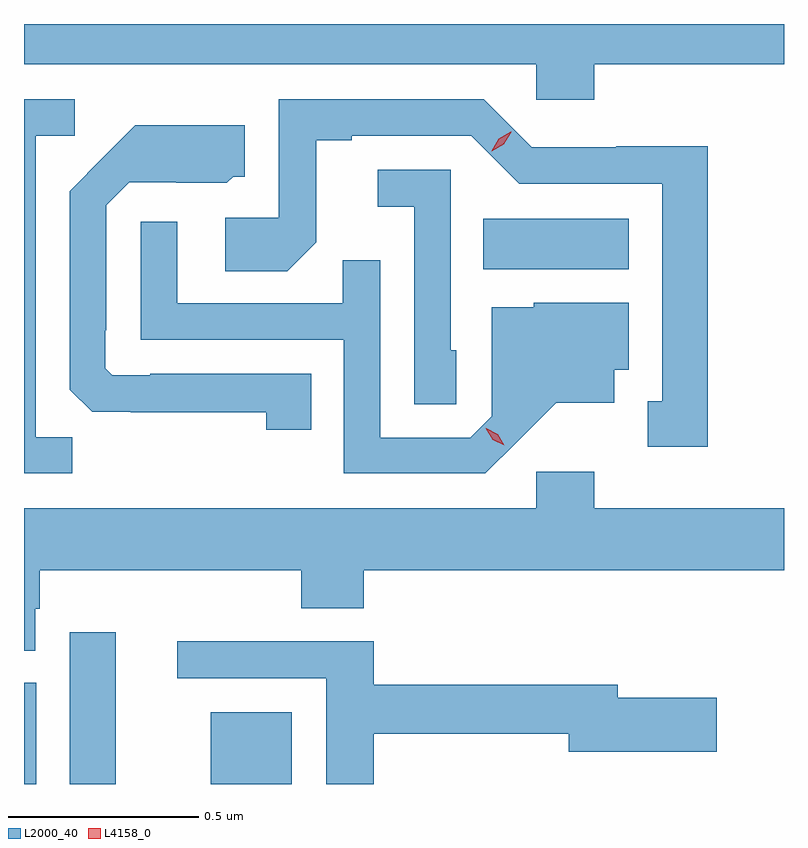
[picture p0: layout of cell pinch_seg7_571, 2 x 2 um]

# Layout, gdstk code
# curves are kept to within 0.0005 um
import gdstk
lib = gdstk.Library(unit=1e-6, precision=1e-09)
def R(c, l, rs):  # rectangles x0, y0, x1, y1
    for r in rs: c.add(gdstk.rectangle(r[:2], r[2:], *l))
def P(c, l, *ps):  # polygons
    for p in ps: c.add(gdstk.Polygon(p, *l))
L2000_40 = (2000, 40)
L4158_0 = (4158, 0)

pinch_seg7_571 = lib.new_cell('pinch_seg7_571')
R(pinch_seg7_571, L2000_40, [(171.014,1044.01,171.046,1044.276), (171.134,1044.01,171.256,1044.409), (171.506,1044.01,171.718,1044.199), (172.222,1045.364,172.606,1045.498)])
P(pinch_seg7_571, L2000_40, [(172.514,1045.904),(173.014,1045.904),(173.014,1046.01),(171.014,1046.01),(171.014,1045.904),(172.362,1045.904),(172.362,1045.811),(172.514,1045.811)],
  [(171.141,1044.923),(171.045,1044.923),(171.045,1045.716),(171.148,1045.716),(171.148,1045.812),(171.014,1045.812),(171.014,1044.828),(171.141,1044.828)],
  [(172.813,1045.688),(172.572,1045.688),(172.572,1045.686),(172.35,1045.686),(172.224,1045.812),(171.684,1045.812),(171.684,1045.5),(171.543,1045.5),(171.543,1045.36),(171.707,1045.36),(171.783,1045.436),(171.783,1045.704),(171.877,1045.704),(171.877,1045.716),(172.191,1045.716),(172.317,1045.59),(172.694,1045.59),(172.694,1045.017),(172.655,1045.017),(172.655,1044.897),(172.813,1044.897)],
  [(171.77,1045.089),(171.346,1045.089),(171.346,1045.086),(171.246,1045.086),(171.228,1045.104),(171.228,1045.204),(171.231,1045.204),(171.231,1045.533),(171.291,1045.593),(171.414,1045.593),(171.414,1045.592),(171.548,1045.592),(171.564,1045.608),(171.595,1045.608),(171.595,1045.744),(171.307,1045.744),(171.135,1045.57),(171.135,1045.048),(171.194,1044.989),(171.295,1044.989),(171.295,1044.988),(171.652,1044.988),(171.652,1044.942),(171.77,1044.942)],
  [(172.152,1045.152),(172.137,1045.152),(172.137,1045.626),(171.945,1045.626),(171.945,1045.529),(172.041,1045.529),(172.041,1045.009),(172.152,1045.009)],
  [(172.312,1044.911),(172.415,1045.013),(172.567,1045.013),(172.567,1045.1),(172.606,1045.1),(172.606,1045.276),(172.356,1045.276),(172.356,1045.264),(172.245,1045.264),(172.245,1044.978),(172.188,1044.921),(171.951,1044.921),(171.951,1045.388),(171.853,1045.388),(171.853,1045.275),(171.417,1045.275),(171.417,1045.489),(171.321,1045.489),(171.321,1045.179),(171.855,1045.179),(171.855,1044.828),(172.228,1044.828)],
  [(171.043,1044.471),(171.056,1044.471),(171.056,1044.572),(171.743,1044.572),(171.743,1044.473),(171.908,1044.473),(171.908,1044.572),(173.014,1044.572),(173.014,1044.736),(172.514,1044.736),(172.514,1044.832),(172.362,1044.832),(172.362,1044.736),(171.014,1044.736),(171.014,1044.361),(171.043,1044.361)],
  [(171.935,1044.142),(172.448,1044.142),(172.448,1044.095),(172.837,1044.095),(172.837,1044.237),(172.576,1044.237),(172.576,1044.271),(171.935,1044.271),(171.935,1044.386),(171.417,1044.386),(171.417,1044.288),(171.809,1044.288),(171.809,1044.01),(171.935,1044.01)])
P(pinch_seg7_571, L4158_0, [(172.278,1044.901),(172.247,1044.916),(172.229,1044.946),(172.229,1044.946),(172.23,1044.946),(172.261,1044.931),(172.278,1044.902),(172.278,1044.901)],
  [(172.245,1045.675),(172.245,1045.676),(172.263,1045.708),(172.295,1045.726),(172.296,1045.726),(172.296,1045.725),(172.277,1045.693),(172.245,1045.675)])

lib.write_gds('pinch_seg7_571.gds')
